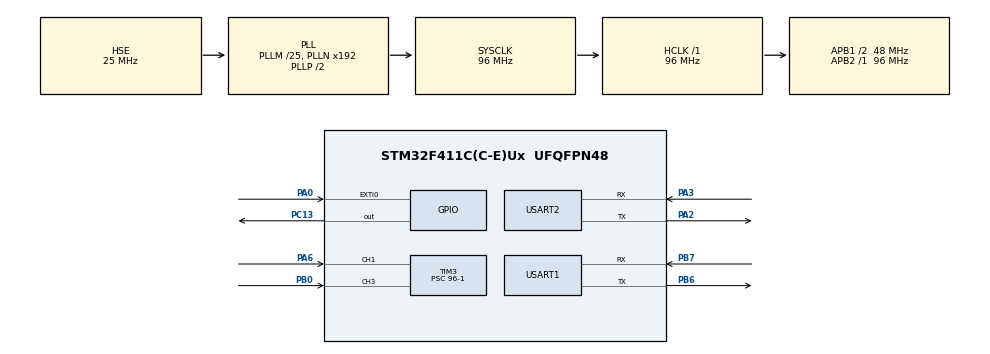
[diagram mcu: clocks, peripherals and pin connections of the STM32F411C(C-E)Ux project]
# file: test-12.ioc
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Mcu.Family=STM32F4
Mcu.Name=STM32F411C(C-E)Ux
Mcu.Package=UFQFPN48
NVIC.EXTI0_IRQn=true\:0\:0\:false\:false\:true\:true\:true\:true
NVIC.PriorityGroup=NVIC_PRIORITYGROUP_4
NVIC.TIM3_IRQn=true\:0\:0\:false\:false\:true\:true\:true\:true
NVIC.USART2_IRQn=true\:0\:0\:false\:false\:true\:true\:true\:true
PA0-WKUP.Signal=GPXTI0
PA13.Mode=Serial_Wire
PA13.Signal=SYS_JTMS-SWDIO
PA14.Mode=Serial_Wire
PA14.Signal=SYS_JTCK-SWCLK
PA2.Mode=Asynchronous
PA2.Signal=USART2_TX
PA3.Mode=Asynchronous
PA3.Signal=USART2_RX
PA6.Signal=S_TIM3_CH1
PB0.Signal=S_TIM3_CH3
PB6.Mode=Asynchronous
PB6.Signal=USART1_TX
PB7.Mode=Asynchronous
PB7.Signal=USART1_RX
PC13-ANTI_TAMP.Signal=GPIO_Output
PH0\ -\ OSC_IN.Mode=HSE-External-Oscillator
PH0\ -\ OSC_IN.Signal=RCC_OSC_IN
PH1\ -\ OSC_OUT.Mode=HSE-External-Oscillator
PH1\ -\ OSC_OUT.Signal=RCC_OSC_OUT
ProjectManager.HeapSize=0x200
ProjectManager.StackSize=0x400
ProjectManager.TargetToolchain=STM32CubeIDE
RCC.48MHZClocksFreq_Value=48000000
RCC.AHBFreq_Value=96000000
RCC.APB1CLKDivider=RCC_HCLK_DIV2
RCC.APB1Freq_Value=48000000
RCC.APB1TimFreq_Value=96000000
RCC.APB2Freq_Value=96000000
RCC.APB2TimFreq_Value=96000000
RCC.CortexFreq_Value=96000000
RCC.HCLKFreq_Value=96000000
RCC.HSE_VALUE=25000000
RCC.HSI_VALUE=16000000
RCC.LSE_VALUE=32768
RCC.PLLM=25
RCC.PLLSourceVirtual=RCC_PLLSOURCE_HSE
RCC.SYSCLKFreq_VALUE=96000000
RCC.SYSCLKSource=RCC_SYSCLKSOURCE_PLLCLK
RCC.VCOOutputFreq_Value=192000000
SH.S_TIM3_CH1.0=TIM3_CH1,Input_Capture1_from_TI1
SH.S_TIM3_CH3.0=TIM3_CH3,Input_Capture3_from_TI3
TIM3.Channel-Input_Capture1_from_TI1=TIM_CHANNEL_1
TIM3.Channel-Input_Capture3_from_TI3=TIM_CHANNEL_3
TIM3.ICPolarity_CH1=TIM_INPUTCHANNELPOLARITY_BOTHEDGE
TIM3.ICPolarity_CH3=TIM_INPUTCHANNELPOLARITY_BOTHEDGE
TIM3.Period=65536-1
TIM3.Prescaler=96-1
USART1.VirtualMode=VM_ASYNC
USART2.VirtualMode=VM_ASYNC
VP_TIM3_VS_ClockSourceINT.Mode=Internal
board=custom

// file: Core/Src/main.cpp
/* USER CODE BEGIN Header */
/**
  ******************************************************************************
  * @file           : main.c
  * @brief          : Main program body
  ******************************************************************************
  * @attention
  *
  * Copyright (c) 2024 STMicroelectronics.
  * All rights reserved.
  *
  * This software is licensed under terms that can be found in the LICENSE file
  * in the root directory of this software component.
  * If no LICENSE file comes with this software, it is provided AS-IS.
  *
  ******************************************************************************
  */
/* USER CODE END Header */
#include "main.h"

/* USER CODE BEGIN Includes */
#include <string.h>
#include <stdio.h>
#include <stdint.h>
#include <RCChannel.h>
/* USER CODE END Includes */

/* USER CODE BEGIN PD */
#define CPU_CLOCK_SPEED 96000000
#define RC_SIGNAL_PERIOD_US 17500
#define VALUE_WIDTH 5
#define MESSAGE_LENGTH 50

/* USER CODE END PD */

TIM_HandleTypeDef htim3;

UART_HandleTypeDef huart1;
UART_HandleTypeDef huart2;

void SystemClock_Config(void);
static void MX_GPIO_Init(void);
static void MX_USART2_UART_Init(void);
static void MX_TIM3_Init(void);
static void MX_USART1_UART_Init(void);

/* USER CODE BEGIN 0 */

// Create an object that is a pointer to that type.
// ...so it can be used below in the callback function but
// ...the compiler won't throw a build error.
RCChannel* ThrottleChannel;
RCChannel* SteeringChannel;

void HAL_TIM_IC_CaptureCallback(TIM_HandleTypeDef *htim)
{
	if((htim->Instance = TIM3))
	{
		    if ( htim->Channel == HAL_TIM_ACTIVE_CHANNEL_1 )
		    {
		        // Handle channel
		    	SteeringChannel->TIM_IC_CaptureCallback();
		    }

			if ( htim->Channel == HAL_TIM_ACTIVE_CHANNEL_3)
			{
		        // Handle channel
				ThrottleChannel->TIM_IC_CaptureCallback();
		    	//ThrottleChannel->TIM_IC_CaptureCallback();
			}
	}
}

/* USER CODE END 0 */

int main(void)
{

  /* MCU Configuration--------------------------------------------------------*/

  /* Reset of all peripherals, Initializes the Flash interface and the Systick. */
  HAL_Init();

  /* Configure the system clock */
  SystemClock_Config();

  /* Initialize all configured peripherals */
  MX_GPIO_Init();
  MX_USART2_UART_Init();
  MX_TIM3_Init();
  MX_USART1_UART_Init();
  /* USER CODE BEGIN 2 */
  char my_message[MESSAGE_LENGTH] = "";
  int string_length;

  ThrottleChannel = new RCChannel
		  	  	  (
		  		  &htim3,
		  		  TIM_CHANNEL_3,
		  		  RC_SIGNAL_PERIOD_US,
		  		  CPU_CLOCK_SPEED,
		  		  1002,  // Calibrated full reverse
		  		  1505,  // Calibrated neutral
		  		  2023,  // Calibrated full speed
		  		  100,   // New max positive
				  100    // New max negative (magnitude)
		  	  	  );

  SteeringChannel = new RCChannel
		  (
  		  &htim3,
  		  TIM_CHANNEL_1,
  		  RC_SIGNAL_PERIOD_US,
  		  CPU_CLOCK_SPEED,
  		  1018,       // Calibrated full left
  		  1528,      // Calibrated neutral
  		  2040,      // Calibrated full right
  		  100,       // New max positive
		  100        // New max negative (magnitude)
		  );

  /* USER CODE END 2 */

  /* Infinite loop */
  while (1)
  {

    /* USER CODE BEGIN 3 */

//	  string_length = snprintf(my_message, MESSAGE_LENGTH, "CH1: %*li%%, CH2: %*li%%.\r\n",
//	                             VALUE_WIDTH, (long signed int)SteeringChannel->value,
//	                             VALUE_WIDTH, (long signed int)ThrottleChannel->value);
	  string_length = snprintf(my_message, MESSAGE_LENGTH, "CH1: %*li%%, CH2: %*li%%.\r\n",
	  	                             VALUE_WIDTH, (long signed int)SteeringChannel->value,
	  	                             VALUE_WIDTH, (long signed int)ThrottleChannel->value);
	  HAL_UART_Transmit(&huart2, (uint8_t*)my_message, string_length, HAL_MAX_DELAY);
  }
  /* USER CODE END 3 */
}

void SystemClock_Config(void)
{
  RCC_OscInitTypeDef RCC_OscInitStruct = {0};
  RCC_ClkInitTypeDef RCC_ClkInitStruct = {0};

  /** Configure the main internal regulator output voltage
  */
  __HAL_RCC_PWR_CLK_ENABLE();
  __HAL_PWR_VOLTAGESCALING_CONFIG(PWR_REGULATOR_VOLTAGE_SCALE1);

  /** Initializes the RCC Oscillators according to the specified parameters
  * in the RCC_OscInitTypeDef structure.
  */
  RCC_OscInitStruct.OscillatorType = RCC_OSCILLATORTYPE_HSE;
  RCC_OscInitStruct.HSEState = RCC_HSE_ON;
  RCC_OscInitStruct.PLL.PLLState = RCC_PLL_ON;
  RCC_OscInitStruct.PLL.PLLSource = RCC_PLLSOURCE_HSE;
  RCC_OscInitStruct.PLL.PLLM = 25;
  RCC_OscInitStruct.PLL.PLLN = 192;
  RCC_OscInitStruct.PLL.PLLP = RCC_PLLP_DIV2;
  RCC_OscInitStruct.PLL.PLLQ = 4;
  if (HAL_RCC_OscConfig(&RCC_OscInitStruct) != HAL_OK)
  {
    Error_Handler();
  }

  /** Initializes the CPU, AHB and APB buses clocks
  */
  RCC_ClkInitStruct.ClockType = RCC_CLOCKTYPE_HCLK|RCC_CLOCKTYPE_SYSCLK
                              |RCC_CLOCKTYPE_PCLK1|RCC_CLOCKTYPE_PCLK2;
  RCC_ClkInitStruct.SYSCLKSource = RCC_SYSCLKSOURCE_PLLCLK;
  RCC_ClkInitStruct.AHBCLKDivider = RCC_SYSCLK_DIV1;
  RCC_ClkInitStruct.APB1CLKDivider = RCC_HCLK_DIV2;
  RCC_ClkInitStruct.APB2CLKDivider = RCC_HCLK_DIV1;

  if (HAL_RCC_ClockConfig(&RCC_ClkInitStruct, FLASH_LATENCY_3) != HAL_OK)
  {
    Error_Handler();
  }
}

static void MX_TIM3_Init(void)
{

  TIM_ClockConfigTypeDef sClockSourceConfig = {0};
  TIM_MasterConfigTypeDef sMasterConfig = {0};
  TIM_IC_InitTypeDef sConfigIC = {0};

  htim3.Instance = TIM3;
  htim3.Init.Prescaler = 96-1;
  htim3.Init.CounterMode = TIM_COUNTERMODE_UP;
  htim3.Init.Period = 65536-1;
  htim3.Init.ClockDivision = TIM_CLOCKDIVISION_DIV1;
  htim3.Init.AutoReloadPreload = TIM_AUTORELOAD_PRELOAD_DISABLE;
  if (HAL_TIM_Base_Init(&htim3) != HAL_OK)
  {
    Error_Handler();
  }
  sClockSourceConfig.ClockSource = TIM_CLOCKSOURCE_INTERNAL;
  if (HAL_TIM_ConfigClockSource(&htim3, &sClockSourceConfig) != HAL_OK)
  {
    Error_Handler();
  }
  if (HAL_TIM_IC_Init(&htim3) != HAL_OK)
  {
    Error_Handler();
  }
  sMasterConfig.MasterOutputTrigger = TIM_TRGO_RESET;
  sMasterConfig.MasterSlaveMode = TIM_MASTERSLAVEMODE_DISABLE;
  if (HAL_TIMEx_MasterConfigSynchronization(&htim3, &sMasterConfig) != HAL_OK)
  {
    Error_Handler();
  }
  sConfigIC.ICPolarity = TIM_INPUTCHANNELPOLARITY_BOTHEDGE;
  sConfigIC.ICSelection = TIM_ICSELECTION_DIRECTTI;
  sConfigIC.ICPrescaler = TIM_ICPSC_DIV1;
  sConfigIC.ICFilter = 0;
  if (HAL_TIM_IC_ConfigChannel(&htim3, &sConfigIC, TIM_CHANNEL_1) != HAL_OK)
  {
    Error_Handler();
  }
  if (HAL_TIM_IC_ConfigChannel(&htim3, &sConfigIC, TIM_CHANNEL_3) != HAL_OK)
  {
    Error_Handler();
  }

}

static void MX_USART1_UART_Init(void)
{

  huart1.Instance = USART1;
  huart1.Init.BaudRate = 115200;
  huart1.Init.WordLength = UART_WORDLENGTH_8B;
  huart1.Init.StopBits = UART_STOPBITS_1;
  huart1.Init.Parity = UART_PARITY_NONE;
  huart1.Init.Mode = UART_MODE_TX_RX;
  huart1.Init.HwFlowCtl = UART_HWCONTROL_NONE;
  huart1.Init.OverSampling = UART_OVERSAMPLING_16;
  if (HAL_UART_Init(&huart1) != HAL_OK)
  {
    Error_Handler();
  }

}

static void MX_USART2_UART_Init(void)
{

  huart2.Instance = USART2;
  huart2.Init.BaudRate = 115200;
  huart2.Init.WordLength = UART_WORDLENGTH_8B;
  huart2.Init.StopBits = UART_STOPBITS_1;
  huart2.Init.Parity = UART_PARITY_NONE;
  huart2.Init.Mode = UART_MODE_TX_RX;
  huart2.Init.HwFlowCtl = UART_HWCONTROL_NONE;
  huart2.Init.OverSampling = UART_OVERSAMPLING_16;
  if (HAL_UART_Init(&huart2) != HAL_OK)
  {
    Error_Handler();
  }

}

static void MX_GPIO_Init(void)
{
  GPIO_InitTypeDef GPIO_InitStruct = {0};

  /* GPIO Ports Clock Enable */
  __HAL_RCC_GPIOC_CLK_ENABLE();
  __HAL_RCC_GPIOH_CLK_ENABLE();
  __HAL_RCC_GPIOA_CLK_ENABLE();
  __HAL_RCC_GPIOB_CLK_ENABLE();

  /*Configure GPIO pin Output Level */
  HAL_GPIO_WritePin(GPIOC, GPIO_PIN_13, GPIO_PIN_RESET);

  /*Configure GPIO pin : PC13 */
  GPIO_InitStruct.Pin = GPIO_PIN_13;
  GPIO_InitStruct.Mode = GPIO_MODE_OUTPUT_PP;
  GPIO_InitStruct.Pull = GPIO_NOPULL;
  GPIO_InitStruct.Speed = GPIO_SPEED_FREQ_LOW;
  HAL_GPIO_Init(GPIOC, &GPIO_InitStruct);

  /*Configure GPIO pin : PA0 */
  GPIO_InitStruct.Pin = GPIO_PIN_0;
  GPIO_InitStruct.Mode = GPIO_MODE_IT_RISING;
  GPIO_InitStruct.Pull = GPIO_NOPULL;
  HAL_GPIO_Init(GPIOA, &GPIO_InitStruct);

  /* EXTI interrupt init*/
  HAL_NVIC_SetPriority(EXTI0_IRQn, 0, 0);
  HAL_NVIC_EnableIRQ(EXTI0_IRQn);

}

void Error_Handler(void)
{
  __disable_irq();
  while (1)
  {
  }
}
